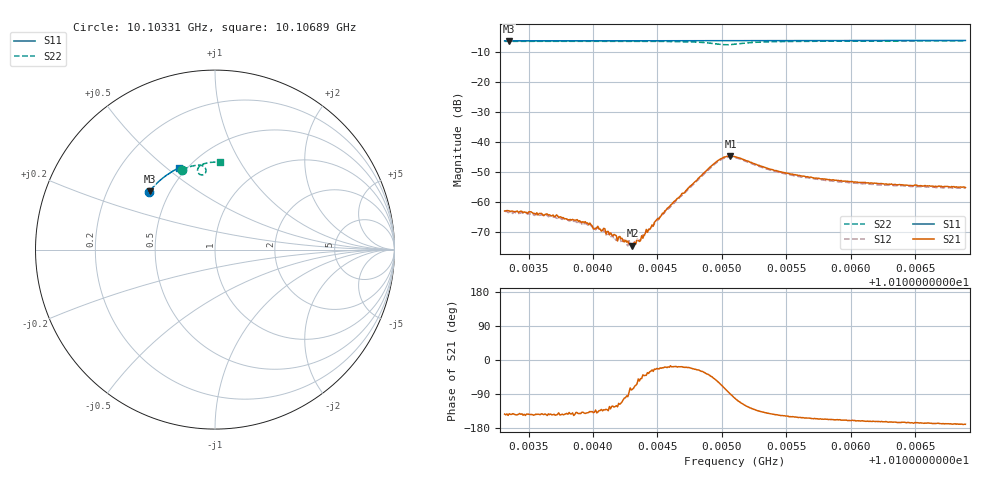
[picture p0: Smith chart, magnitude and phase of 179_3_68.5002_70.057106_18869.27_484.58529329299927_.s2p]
#  HZ  S  RI  R  50.00
! Rohde & Schwarz Vector Network Analyzer
! Rohde-Schwarz,ZNB20-2Port,1311601062101988,3.16
! Created: UTC 3/20/2024, 5:11:46 PM
! freq[Hz]  re:S11  im:S11  re:S21  im:S21  re:S12  im:S12  re:S22  im:S22
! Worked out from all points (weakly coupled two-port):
!   401 points, 10.10331 GHz to 10.10689 GHz, reference 50 ohm
!   highest |S21| = -44.77 dB at 10.10507 GHz (marker M1); lowest = -74.7 dB at 10.10431 GHz (marker M2)
!   lowest |S11| = -6.2 dB at 10.10335 GHz (marker M3), VSWR 2.91, Z = 19.3 + j16.5 ohm
!   |S11| at or under -10 dB: nowhere
!   |S22| runs from -7.5 to -6.2 dB; largest |S21 - S12| = 0.00062
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1.0103314e10  -0.3664 0.3237  -0.000555 -0.000423  -0.000522 -0.000465  -0.1812 0.4457
1.010335e10  -0.3648 0.3254  -0.000551 -0.000435  -0.000497 -0.00044  -0.179 0.4467
1.0103654e10  -0.3529 0.3395  -0.00047 -0.000364  -0.000407 -0.000384  -0.1599 0.4546
1.0103913e10  -0.3424 0.3512  -0.000329 -0.000299  -0.000302 -0.000294  -0.1428 0.4607
1.0103958e10  -0.3406 0.3531  -0.000334 -0.000287  -0.000271 -0.000307  -0.1398 0.4617
1.0104012e10  -0.3383 0.3556  -0.000258 -0.000234  -0.000252 -0.000283  -0.1361 0.4628
1.0104047e10  -0.3368 0.3571  -0.00024 -0.000252  -0.00021 -0.000281  -0.1335 0.4637
1.0104181e10  -0.3311 0.3628  -0.000137 -0.000232  -8.78e-05 -0.000206  -0.1238 0.4663
1.0104226e10  -0.3293 0.3649  -8.36e-05 -0.000228  -4.5e-05 -0.000197  -0.1205 0.4671
1.010428e10  -0.3269 0.3672  1.71e-05 -0.000195  3.48e-06 -0.000228  -0.1164 0.468
1.0104306e10  -0.3257 0.3683  4.03e-05 -0.000179  5.09e-05 -0.000184  -0.1143 0.4685
1.0104378e10  -0.3225 0.3712  0.000176 -0.000203  0.000183 -0.000185  -0.1085 0.4695
1.0104512e10  -0.3165 0.3767  0.000469 -0.000205  0.000508 -0.000166  -0.0966 0.471
1.0104637e10  -0.3109 0.382  0.000988 -0.000304  0.000956 -0.00022  -0.0838 0.4705
1.0104923e10  -0.2975 0.3931  0.00288 -0.00281  0.00301 -0.00247  -0.05 0.4423
1.0105004e10  -0.2937 0.3959  0.00197 -0.00496  0.00235 -0.0046  -0.0593 0.4208
1.0105066e10  -0.2909 0.3983  -6.23e-06 -0.00577  0.000523 -0.00552  -0.0793 0.4167
1.0105102e10  -0.2894 0.3996  -0.00111 -0.00553  -0.000566 -0.00541  -0.0892 0.4219
1.0105397e10  -0.2754 0.4106  -0.00271 -0.00206  -0.00241 -0.0022  -0.0817 0.468
1.0105701e10  -0.2602 0.4213  -0.00229 -0.00108  -0.00208 -0.00127  -0.0554 0.4798
1.01063e10  -0.2295 0.4405  -0.00189 -0.000562  -0.00175 -0.000713  -0.0117 0.4872
1.010689e10  -0.1979 0.4569  -0.00169 -0.000309  -0.00161 -0.000455  0.0279 0.4886
